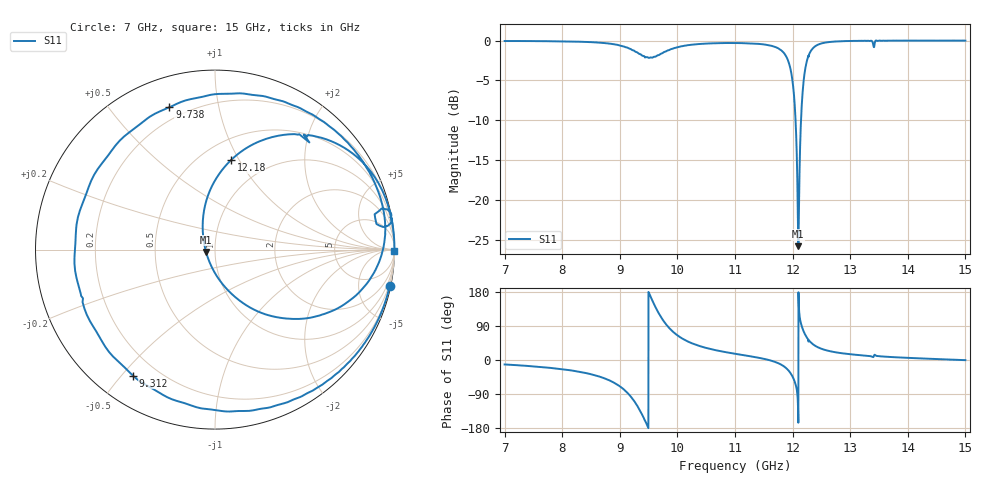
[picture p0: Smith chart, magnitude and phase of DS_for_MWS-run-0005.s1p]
! TOUCHSTONE file generated by CST DESIGN STUDIO
! Date and time: Mon Feb 10 16:49:01 2025
! Project name: C:\Work\MatlabApps\UnitCellType2OptimizationMatlab\CST\unitcell.cst
! Tree item: Tasks\Sweep1\SPara1\S-Parameters
! Header version: 2024
! Port assignment regex: !\s*Touchstone port\s*([0-9]+)\s*=\s*(CST MWS port|CST DES external port|CST DES block port)\s*(.+)\s* \(\"(.*)\"\)(\s*mode\s*([0-9]+))?.*
! Touchstone port assignment:
! Touchstone port 1 = CST DES external port 1 ("")
# GHz S MA R 50
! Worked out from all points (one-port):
!   4001 points, 7 GHz to 15 GHz, reference 50 ohm
!   lowest |S11| = -25.8 dB at 12.1 GHz (marker M1), VSWR 1.11, Z = 45.2 - j1.17 ohm
!   |S11| at or under -10 dB: 12.05 GHz to 12.15 GHz (94.49 MHz wide, 0.781 % of centre)
!   S11 on the Smith chart (normalised r, x): 7 GHz: 0.30, -9.71; 9.312 GHz: 0.11, -0.54; 9.738 GHz: 0.14, +0.72; 12.18 GHz: 0.69, +0.92; 15 GHz: open
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7  0.9937 -11.8
8  0.9882 -24.3
8.626  0.9711 -42.8
9  0.9326 -69.3
9.176  0.8892 -93.7
9.312  0.8379 -123.1
9.422  0.7988 -155.2
9.512  0.7792 175.1
9.63  0.7968 136.6
9.738  0.8325 107.8
9.85  0.8703 85.5
10  0.9097 65.0
10.378  0.9508 37.2
11  0.9651 16.4
11.746  0.8961 -8.1
11.894  0.7889 -22.2
12  0.5522 -44.0
12.05  0.3241 -63.5
12.074  0.1831 -79.7
12.1  0.0515 -165.5
12.126  0.1881 110.7
12.18  0.5058 79.9
12.262  0.7775 55.8
12.43  0.9386 34.3
12.638  0.9794 23.6
13  0.9942 15.2
14  0.9988 5.7
15  0.9995 -0.4
